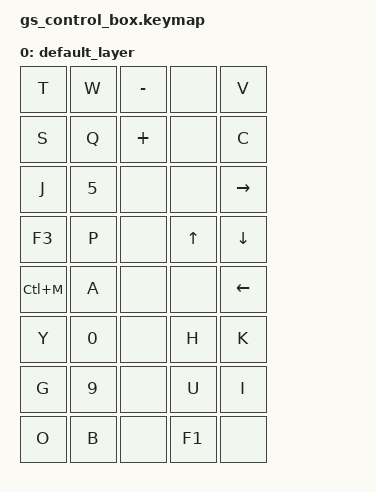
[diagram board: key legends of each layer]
#include <behaviors.dtsi>
#include <dt-bindings/zmk/keys.h>

/ {
    keymap {
        compatible = "zmk,keymap";

        default_layer {
            /*
             * Matrix IDs, left-to-right/top-to-bottom:
             *
             * 01 Scores          = T
             * 02 Map -           = W
             * 03 Sound Off       = -
             * 04 unused
             * 05 Tee Box Right   = V
             *
             * 06 Big Map         = S
             * 07 Map +           = Q
             * 08 Sound On        = +
             * 09 unused
             * 10 Tee Box Left    = C
             *
             * 11 Target          = J
             * 12 Go To Ball      = 5
             * 13 unused
             * 14 unused
             * 15 Aim Right       = Right Arrow
             *
             * 16 Aim Point       = F3
             * 17 Show Pin        = P
             * 18 unused
             * 19 Aim Up          = Up Arrow
             * 20 Aim Down        = Down Arrow
             *
             * 21 Mulligan        = Ctrl+M
             * 22 Reset Aim       = A
             * 23 unused
             * 24 unused
             * 25 Aim Left        = Left Arrow
             *
             * 26 Heat Map        = Y
             * 27 Next Hole       = 0
             * 28 unused
             * 29 Hide UI         = H
             * 30 Club -          = K
             *
             * 31 Grid            = G
             * 32 Prev Hole       = 9
             * 33 unused
             * 34 Putter          = U
             * 35 Club +          = I
             *
             * 36 Flyover         = O
             * 37 Hide Objects    = B
             * 38 unused
             * 39 Clear Trace     = F1
             * 40 unused
             */
            bindings = <
                &kp T       &kp W       &kp MINUS   &none        &kp V
                &kp S       &kp Q       &kp PLUS    &none        &kp C
                &kp J       &kp N5      &none       &none        &kp RIGHT
                &kp F3      &kp P       &none       &kp UP       &kp DOWN
                &kp LC(M)   &kp A       &none       &none        &kp LEFT
                &kp Y       &kp N0      &none       &kp H        &kp K
                &kp G       &kp N9      &none       &kp U        &kp I
                &kp O       &kp B       &none       &kp F1       &none
            >;
        };
    };
};
